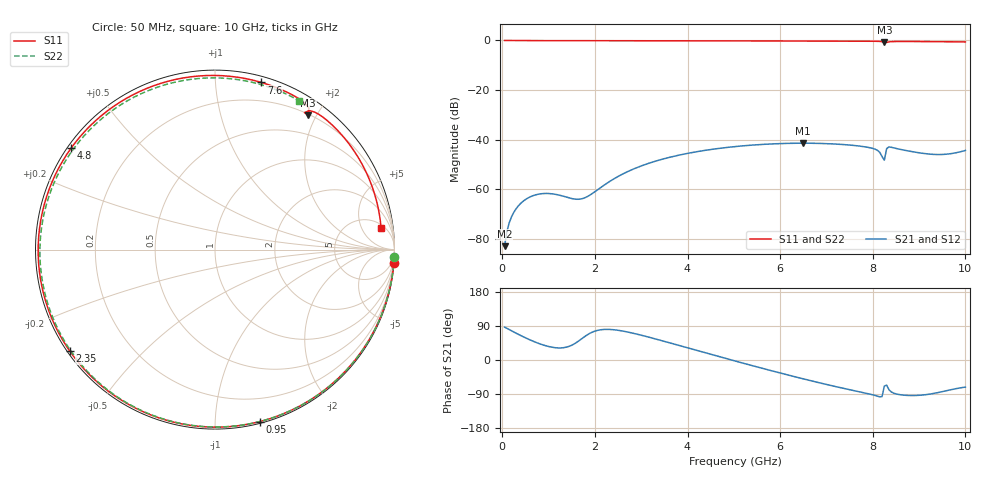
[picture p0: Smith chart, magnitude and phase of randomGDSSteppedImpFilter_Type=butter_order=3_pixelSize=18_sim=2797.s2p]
! freq	dB(S11)	phase(S11)	dB(S12)	phase(S12)
!  dB(S21)	phase(S21)	dB(S22)	phase(S22)
!S-par simulation data
#  GHz  S  DB  R 50
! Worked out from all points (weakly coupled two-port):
!   200 points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, 50 MHz to 10 GHz, reference 50 ohm
!   highest |S21| = -41.43 dB at 6.5 GHz (marker M1); lowest = -83.0 dB at 50 MHz (marker M2)
!   lowest |S11| = -0.8 dB at 8.25 GHz (marker M3), VSWR 21.12, Z = 10.9 + j94.5 ohm
!   |S11| at or under -10 dB: nowhere
!   |S22| runs from -0.4 to 0.0 dB; largest |S21 - S12| = 0
!   S11 on the Smith chart (normalised r, x): 50 MHz: 0, -26; 950 MHz: 0.01, -1.29; 2.35 GHz: 0.01, -0.31; 4.8 GHz: 0.01, +0.32; 7.6 GHz: 0.05, +1.31; 10 GHz: 7, +12
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0.05  -0.00 -4.4  -82.96 86.7  -82.96 86.7  -0.00 -2.3
0.2  -0.03 -17.4  -71.10 77.0  -71.10 77.0  -0.01 -9.0
0.35  -0.04 -30.1  -66.64 67.5  -66.64 67.5  -0.02 -15.7
0.6  -0.07 -50.2  -63.09 53.0  -63.09 53.0  -0.04 -26.7
0.95  -0.08 -75.5  -61.70 37.2  -61.70 37.2  -0.05 -41.7
1.3  -0.10 -97.1  -62.72 32.2  -62.72 32.2  -0.07 -56.2
1.75  -0.11 -120.3  -63.67 59.3  -63.67 59.3  -0.09 -73.8
2.35  -0.11 -145.1  -56.49 80.5  -56.49 80.5  -0.11 -95.5
2.85  -0.12 -162.2  -51.71 69.9  -51.71 69.9  -0.12 -112.0
3.4  -0.13 -178.6  -48.17 52.5  -48.17 52.5  -0.14 -128.7
4.1  -0.14 162.5  -45.19 28.7  -45.19 28.7  -0.16 -148.4
4.8  -0.17 144.9  -43.26 4.9  -43.26 4.9  -0.19 -166.7
5.05  -0.18 138.7  -42.75 -3.4  -42.75 -3.4  -0.20 -173.0
6.5  -0.24 103.0  -41.43 -49.8  -41.43 -49.8  -0.27 151.4
6.7  -0.25 98.0  -41.46 -55.8  -41.46 -55.8  -0.28 146.5
7.6  -0.29 74.5  -42.35 -81.0  -42.35 -81.0  -0.33 124.2
8.1  -0.35 60.2  -44.30 -95.4  -44.30 -95.4  -0.35 111.5
8.25  -0.82 55.3  -48.27 -68.6  -48.27 -68.6  -0.36 107.7
8.3  -0.80 56.9  -43.61 -66.4  -43.61 -66.4  -0.36 106.4
8.35  -0.57 55.8  -42.93 -78.5  -42.93 -78.5  -0.36 105.1
9.35  -0.49 26.3  -45.99 -87.4  -45.99 -87.4  -0.40 78.5
10  -0.60 7.3  -44.35 -71.5  -44.35 -71.5  -0.42 60.6
